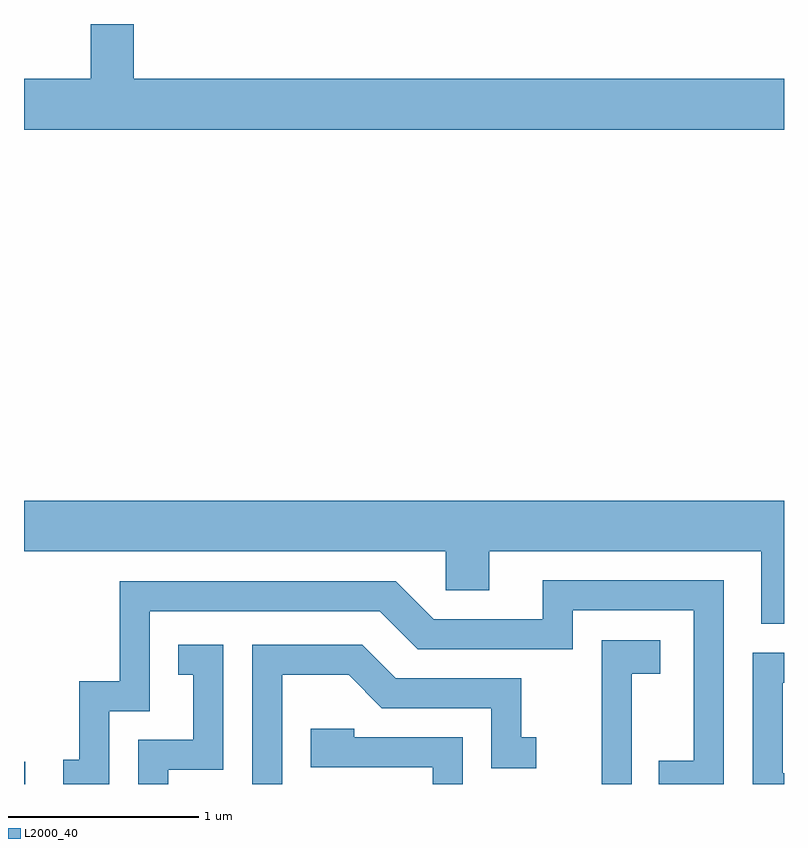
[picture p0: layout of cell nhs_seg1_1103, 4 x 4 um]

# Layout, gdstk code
import gdstk
lib = gdstk.Library(unit=1e-6, precision=1e-09)
def R(c, l, rs):  # rectangles x0, y0, x1, y1
    for r in rs: c.add(gdstk.rectangle(r[:2], r[2:], *l))
def P(c, l, *ps):  # polygons
    for p in ps: c.add(gdstk.Polygon(p, *l))
L2000_40 = (2000, 40)

nhs_seg1_1103 = lib.new_cell('nhs_seg1_1103')
R(nhs_seg1_1103, L2000_40, [(219.611,871.712,219.618,871.829)])
P(nhs_seg1_1103, L2000_40, [(223.611,875.424),(220.189,875.424),(220.189,875.712),(219.961,875.712),(219.961,875.424),(219.611,875.424),(219.611,875.156),(223.611,875.156)],
  [(223.611,873.204),(219.611,873.204),(219.611,872.936),(221.831,872.936),(221.831,872.731),(222.059,872.731),(222.059,872.936),(223.491,872.936),(223.491,872.556),(223.611,872.556)],
  [(220.059,872.096),(220.274,872.096),(220.274,872.621),(221.484,872.621),(221.684,872.421),(222.499,872.421),(222.499,872.626),(223.136,872.626),(223.136,871.834),(222.953,871.834),(222.953,871.712),(223.294,871.712),(223.294,872.784),(222.341,872.784),(222.341,872.579),(221.767,872.579),(221.567,872.779),(220.116,872.779),(220.116,872.254),(219.901,872.254),(219.901,871.839),(219.818,871.839),(219.818,871.712),(220.059,871.712)],
  [(222.809,872.291),(222.959,872.291),(222.959,872.469),(222.651,872.469),(222.651,871.712),(222.809,871.712)],
  [(220.369,871.786),(220.659,871.786),(220.659,872.444),(220.423,872.444),(220.423,872.286),(220.501,872.286),(220.501,871.944),(220.211,871.944),(220.211,871.712),(220.369,871.712)],
  [(220.969,872.286),(221.319,872.286),(221.494,872.111),(222.071,872.111),(222.071,871.796),(222.308,871.796),(222.308,871.959),(222.229,871.959),(222.229,872.269),(221.567,872.269),(221.392,872.444),(220.811,872.444),(220.811,871.712),(220.969,871.712)],
  [(223.611,871.769),(223.604,871.769),(223.604,872.246),(223.611,872.246),(223.611,872.404),(223.446,872.404),(223.446,871.712),(223.611,871.712)],
  [(221.919,871.959),(221.349,871.959),(221.349,872.004),(221.121,872.004),(221.121,871.801),(221.761,871.801),(221.761,871.712),(221.919,871.712)])

lib.write_gds('nhs_seg1_1103.gds')
